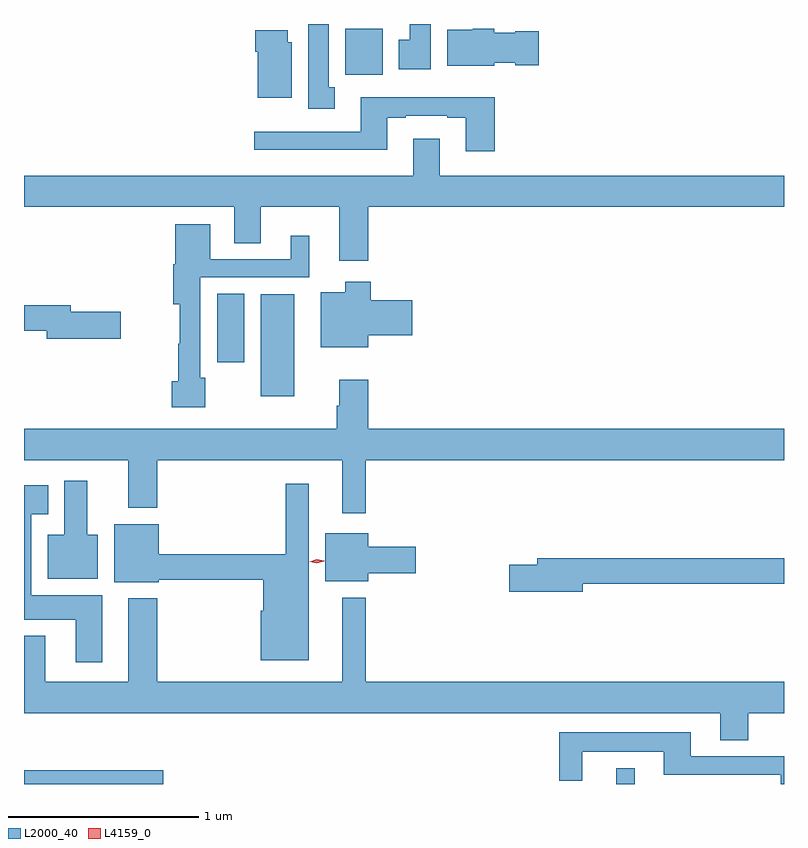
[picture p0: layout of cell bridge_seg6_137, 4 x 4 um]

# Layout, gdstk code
import gdstk
lib = gdstk.Library(unit=1e-6, precision=1e-09)
def R(c, l, rs):  # rectangles x0, y0, x1, y1
    for r in rs: c.add(gdstk.rectangle(r[:2], r[2:], *l))
def P(c, l, *ps):  # polygons
    for p in ps: c.add(gdstk.Polygon(p, *l))
L2000_40 = (2000, 40)
L4159_0 = (4159, 0)

bridge_seg6_137 = lib.new_cell('bridge_seg6_137')
R(bridge_seg6_137, L2000_40, [(530.193,993.583,530.927,993.655), (533.309,993.583,533.407,993.667), (531.44,995.624,531.616,996.16), (531.209,995.802,531.352,996.164), (531.884,997.316,532.081,997.558)])
P(bridge_seg6_137, L2000_40, [(531.829,997.25),(531.796,997.25),(531.796,997.583),(531.689,997.583),(531.689,997.137),(531.829,997.137)],
  [(532.333,997.583),(532.223,997.583),(532.223,997.5),(532.166,997.5),(532.166,997.344),(532.333,997.344)],
  [(532.668,997.379),(532.779,997.379),(532.779,997.367),(532.903,997.367),(532.903,997.545),(532.779,997.545),(532.779,997.537),(532.668,997.537),(532.668,997.558),(532.554,997.558),(532.554,997.552),(532.421,997.552),(532.421,997.364),(532.668,997.364)],
  [(531.601,997.488),(531.58,997.488),(531.58,997.549),(531.41,997.549),(531.41,997.436),(531.422,997.436),(531.422,997.196),(531.601,997.196)],
  [(532.67,997.198),(531.965,997.198),(531.965,997.017),(531.405,997.017),(531.405,996.92),(532.105,996.92),(532.105,997.089),(532.201,997.089),(532.201,997.101),(532.421,997.101),(532.421,997.089),(532.517,997.089),(532.517,996.912),(532.67,996.912)],
  [(530.193,996.62),(531.299,996.62),(531.299,996.43),(531.439,996.43),(531.439,996.62),(531.851,996.62),(531.851,996.336),(532.004,996.336),(532.004,996.62),(534.193,996.62),(534.193,996.784),(532.381,996.784),(532.381,996.979),(532.241,996.979),(532.241,996.784),(530.193,996.784)],
  [(531.147,995.721),(531.12,995.721),(531.12,996.249),(531.694,996.249),(531.694,996.469),(531.596,996.469),(531.596,996.345),(531.172,996.345),(531.172,996.529),(530.99,996.529),(530.99,996.318),(530.978,996.318),(530.978,996.107),(531.012,996.107),(531.012,995.901),(531.004,995.901),(531.004,995.703),(530.97,995.703),(530.97,995.565),(531.147,995.565)],
  [(532.006,995.945),(532.237,995.945),(532.237,996.128),(532.019,996.128),(532.019,996.226),(531.884,996.226),(531.884,996.172),(531.755,996.172),(531.755,995.882),(532.006,995.882)],
  [(530.701,996.068),(530.44,996.068),(530.44,996.104),(530.193,996.104),(530.193,995.968),(530.312,995.968),(530.312,995.926),(530.701,995.926)],
  [(531.991,995.288),(534.193,995.288),(534.193,995.452),(532.004,995.452),(532.004,995.71),(531.851,995.71),(531.851,995.573),(531.839,995.573),(531.839,995.452),(530.193,995.452),(530.193,995.288),(530.741,995.288),(530.741,995.036),(530.894,995.036),(530.894,995.288),(531.869,995.288),(531.869,995.007),(531.991,995.007)],
  [(530.581,994.894),(530.527,994.894),(530.527,995.179),(530.405,995.179),(530.405,994.894),(530.318,994.894),(530.318,994.664),(530.581,994.664)],
  [(531.691,995.164),(531.57,995.164),(531.57,994.793),(530.902,994.793),(530.902,994.951),(530.669,994.951),(530.669,994.646),(530.902,994.646),(530.902,994.657),(531.452,994.657),(531.452,994.494),(531.44,994.494),(531.44,994.235),(531.691,994.235)],
  [(530.605,994.576),(530.23,994.576),(530.23,995.003),(530.32,995.003),(530.32,995.155),(530.193,995.155),(530.193,994.448),(530.465,994.448),(530.465,994.224),(530.605,994.224)],
  [(532.006,994.691),(532.255,994.691),(532.255,994.833),(532.006,994.833),(532.006,994.903),(531.779,994.903),(531.779,994.649),(532.006,994.649)],
  [(533.134,994.636),(534.193,994.636),(534.193,994.772),(532.895,994.772),(532.895,994.736),(532.746,994.736),(532.746,994.594),(533.134,994.594)],
  [(534.006,993.956),(534.193,993.956),(534.193,994.12),(531.991,994.12),(531.991,994.564),(531.869,994.564),(531.869,994.12),(530.894,994.12),(530.894,994.561),(530.741,994.561),(530.741,994.12),(530.305,994.12),(530.305,994.363),(530.193,994.363),(530.193,993.956),(533.858,993.956),(533.858,993.814),(534.006,993.814)],
  [(534.193,993.729),(533.701,993.729),(533.701,993.856),(533.01,993.856),(533.01,993.6),(533.131,993.6),(533.131,993.752),(533.561,993.752),(533.561,993.633),(534.177,993.633),(534.177,993.583),(534.193,993.583)])
P(bridge_seg6_137, L4159_0, [(531.735,994.745),(531.696,994.753),(531.696,994.754),(531.696,994.754),(531.734,994.765),(531.773,994.757),(531.774,994.757),(531.773,994.756)])

lib.write_gds('bridge_seg6_137.gds')
